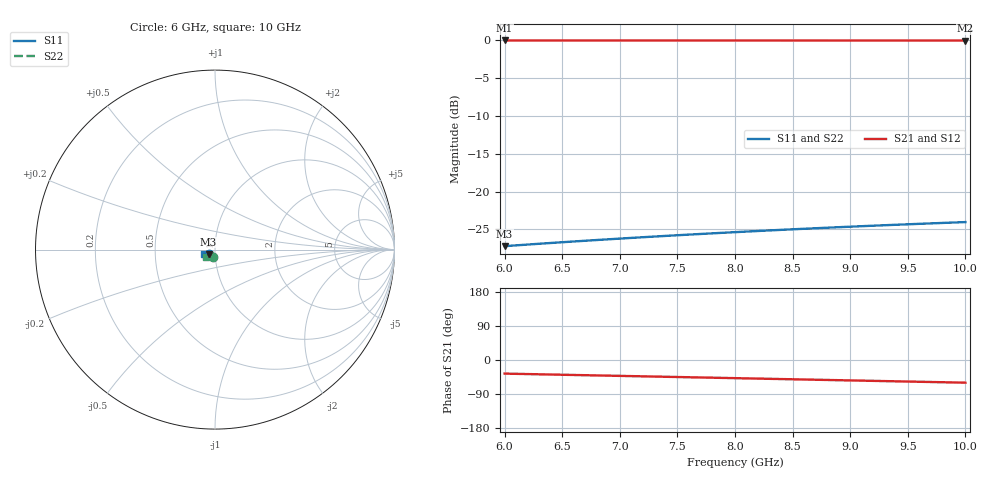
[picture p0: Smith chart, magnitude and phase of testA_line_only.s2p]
! Touchstone file exported from HFSS 2024.2.0
!  File:  C:/Users/artho/Documents/Ansoft/ansys_testA.aedt
!  Generated:  12:47:39 AM Sep  7, 2026
!  Design:  HFSS_5OP
!  Project:  ansys_testA
!  Setup:  Setup1
!  Solution:  Sweep1
!Data is not renormalized
# GHz S MA
! Terminal data exported
! Port[1] = p1
! Port[2] = p2
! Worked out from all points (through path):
!   41 points, 6 GHz to 10 GHz, reference per port
!   highest |S21| = -0.01 dB at 6 GHz (marker M1); lowest = 0.0 dB at 10 GHz (marker M2)
!   group delay of S21, straight-line fit = 16.6 ps
!   lowest |S11| = -27.2 dB at 6 GHz (marker M3), VSWR 1.09
!   |S11| at or under -10 dB: start of sweep to end of sweep
!   |S22| runs from -27.2 to -24.0 dB; largest |S21 - S12| = 3.4e-15
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6  0.04352 -145.9  0.9991 -35.9  0.9991 -35.9  0.04352 -106.0
6.1  0.04406 -146.1  0.999 -36.5  0.999 -36.5  0.04406 -106.9
6.3  0.04514 -146.6  0.999 -37.7  0.999 -37.7  0.04514 -108.8
6.5  0.04621 -147.1  0.9989 -38.9  0.9989 -38.9  0.04621 -110.7
6.7  0.04727 -147.7  0.9989 -40.1  0.9989 -40.1  0.04727 -112.6
7  0.04884 -148.5  0.9988 -41.9  0.9988 -41.9  0.04884 -115.3
7.2  0.04987 -149.1  0.9988 -43.1  0.9988 -43.1  0.04987 -117.1
7.4  0.05089 -149.8  0.9987 -44.3  0.9987 -44.3  0.05089 -118.8
7.7  0.0524 -150.8  0.9986 -46.1  0.9986 -46.1  0.0524 -121.4
8  0.05387 -151.8  0.9985 -47.9  0.9985 -47.9  0.05387 -124.0
8.2  0.05484 -152.5  0.9985 -49.1  0.9985 -49.1  0.05484 -125.7
8.4  0.05579 -153.3  0.9984 -50.3  0.9984 -50.3  0.05579 -127.3
8.6  0.05673 -154.0  0.9984 -51.5  0.9984 -51.5  0.05673 -129.0
8.7  0.05719 -154.4  0.9984 -52.1  0.9984 -52.1  0.05719 -129.8
8.9  0.0581 -155.2  0.9983 -53.3  0.9983 -53.3  0.0581 -131.4
9.1  0.05899 -155.9  0.9983 -54.5  0.9983 -54.5  0.05899 -133.0
9.3  0.05987 -156.7  0.9982 -55.7  0.9982 -55.7  0.05987 -134.6
9.4  0.0603 -157.1  0.9982 -56.3  0.9982 -56.3  0.0603 -135.4
9.6  0.06115 -158.0  0.9981 -57.5  0.9981 -57.5  0.06115 -137.0
9.7  0.06157 -158.4  0.9981 -58.1  0.9981 -58.1  0.06157 -137.7
9.9  0.0624 -159.2  0.9981 -59.3  0.9981 -59.3  0.0624 -139.3
10  0.0628 -159.6  0.998 -59.8  0.998 -59.8  0.0628 -140.1
